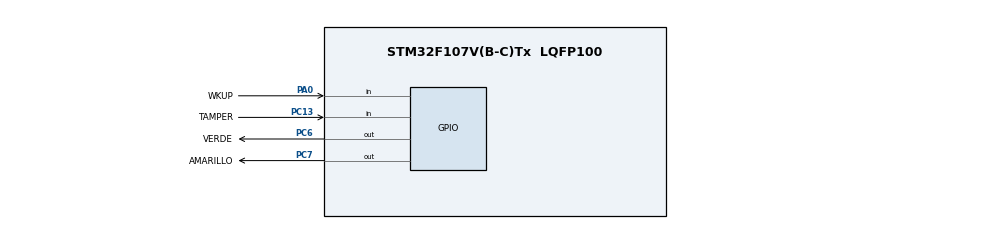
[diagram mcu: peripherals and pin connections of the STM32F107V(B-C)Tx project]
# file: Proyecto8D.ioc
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FREERTOS.CountingSemaphores01=semaverde,5,Dynamic,NULL;semarillo,5,Dynamic,NULL
FREERTOS.Queues01=num_pulsa,3,uint16_t,0,Dynamic,NULL,NULL
FREERTOS.Tasks01=defaultTask,24,128,StartDefaultTask,Default,NULL,Dynamic,NULL,NULL;ledVerde,24,128,Start_led_verde,Default,NULL,Dynamic,NULL,NULL;ledAmarillo,24,128,Start_led_amarillo,Default,NULL,Dynamic,NULL,NULL;control_leds,16,128,Start_control_leds,Default,NULL,Dynamic,NULL,NULL;respuesta,40,128,StartTask05,Default,NULL,Dynamic,NULL,NULL
Mcu.Family=STM32F1
Mcu.Name=STM32F107V(B-C)Tx
Mcu.Package=LQFP100
NVIC.PriorityGroup=NVIC_PRIORITYGROUP_4
NVIC.TIM1_UP_IRQn=true\:15\:0\:false\:false\:true\:false\:false\:true\:true
NVIC.TimeBase=TIM1_UP_IRQn
NVIC.TimeBaseIP=TIM1
PA0-WKUP.GPIO_Label=WKUP
PA0-WKUP.Signal=GPIO_Input
PC13-TAMPER-RTC.GPIO_Label=TAMPER
PC13-TAMPER-RTC.Signal=GPIO_Input
PC6.GPIO_Label=VERDE
PC6.Signal=GPIO_Output
PC7.GPIO_Label=AMARILLO
PC7.Signal=GPIO_Output
ProjectManager.HeapSize=0x200
ProjectManager.StackSize=0x400
ProjectManager.TargetToolchain=STM32CubeIDE
RCC.USBFreq_Value=10666666.666666666
VP_FREERTOS_VS_CMSIS_V2.Mode=CMSIS_V2
VP_SYS_VS_ND.Mode=No_Debug
VP_SYS_VS_tim1.Mode=TIM1
board=custom

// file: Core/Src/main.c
/* USER CODE BEGIN Header */
/**
 ******************************************************************************
 * @file           : main.c
 * @brief          : Main program body
 ******************************************************************************
 * @attention
 *
 * Copyright (c) 2024 STMicroelectronics.
 * All rights reserved.
 *
 * This software is licensed under terms that can be found in the LICENSE file
 * in the root directory of this software component.
 * If no LICENSE file comes with this software, it is provided AS-IS.
 *
 ******************************************************************************
 */
/* USER CODE END Header */
#include "main.h"
#include "cmsis_os.h"

/* Definitions for defaultTask */
osThreadId_t defaultTaskHandle;
const osThreadAttr_t defaultTask_attributes = { .name = "defaultTask",
		.stack_size = 128 * 4, .priority = (osPriority_t) osPriorityNormal, };
/* Definitions for ledVerde */
osThreadId_t ledVerdeHandle;
const osThreadAttr_t ledVerde_attributes = { .name = "ledVerde", .stack_size =
		128 * 4, .priority = (osPriority_t) osPriorityNormal, };
/* Definitions for ledAmarillo */
osThreadId_t ledAmarilloHandle;
const osThreadAttr_t ledAmarillo_attributes = { .name = "ledAmarillo",
		.stack_size = 128 * 4, .priority = (osPriority_t) osPriorityNormal, };
/* Definitions for control_leds */
osThreadId_t control_ledsHandle;
const osThreadAttr_t control_leds_attributes =
		{ .name = "control_leds", .stack_size = 128 * 4, .priority =
				(osPriority_t) osPriorityBelowNormal, };
/* Definitions for respuesta */
osThreadId_t respuestaHandle;
const osThreadAttr_t respuesta_attributes = { .name = "respuesta", .stack_size =
		128 * 4, .priority = (osPriority_t) osPriorityHigh, };
/* Definitions for num_pulsa */
osMessageQueueId_t num_pulsaHandle;
const osMessageQueueAttr_t num_pulsa_attributes = { .name = "num_pulsa" };
/* Definitions for semaverde */
osSemaphoreId_t semaverdeHandle;
const osSemaphoreAttr_t semaverde_attributes = { .name = "semaverde" };
/* Definitions for semarillo */
osSemaphoreId_t semarilloHandle;
const osSemaphoreAttr_t semarillo_attributes = { .name = "semarillo" };

void SystemClock_Config(void);
static void MX_GPIO_Init(void);
void StartDefaultTask(void *argument);
void Start_led_verde(void *argument);
void Start_led_amarillo(void *argument);
void Start_control_leds(void *argument);
void StartTask05(void *argument);

int main(void) {

	/* MCU Configuration--------------------------------------------------------*/

	/* Reset of all peripherals, Initializes the Flash interface and the Systick. */
	HAL_Init();

	/* Configure the system clock */
	SystemClock_Config();

	/* Initialize all configured peripherals */
	MX_GPIO_Init();

	/* Init scheduler */
	osKernelInitialize();

	/* Create the semaphores(s) */
	/* creation of semaverde */
	semaverdeHandle = osSemaphoreNew(5, 0, &semaverde_attributes);

	/* creation of semarillo */
	semarilloHandle = osSemaphoreNew(5, 0, &semarillo_attributes);

	/* Create the queue(s) */
	/* creation of num_pulsa */
	num_pulsaHandle = osMessageQueueNew(3, sizeof(uint16_t),
			&num_pulsa_attributes);

	/* Create the thread(s) */
	/* creation of defaultTask */
	defaultTaskHandle = osThreadNew(StartDefaultTask, NULL,
			&defaultTask_attributes);

	/* creation of ledVerde */
	ledVerdeHandle = osThreadNew(Start_led_verde, NULL, &ledVerde_attributes);

	/* creation of ledAmarillo */
	ledAmarilloHandle = osThreadNew(Start_led_amarillo, NULL,
			&ledAmarillo_attributes);

	/* creation of control_leds */
	control_ledsHandle = osThreadNew(Start_control_leds, NULL,
			&control_leds_attributes);

	/* creation of respuesta */
	respuestaHandle = osThreadNew(StartTask05, NULL, &respuesta_attributes);

	/* Start scheduler */
	osKernelStart();

	/* We should never get here as control is now taken by the scheduler */
	/* Infinite loop */
	while (1) {

	}
}

void SystemClock_Config(void) {
	RCC_OscInitTypeDef RCC_OscInitStruct = { 0 };
	RCC_ClkInitTypeDef RCC_ClkInitStruct = { 0 };

	/** Initializes the RCC Oscillators according to the specified parameters
	 * in the RCC_OscInitTypeDef structure.
	 */
	RCC_OscInitStruct.OscillatorType = RCC_OSCILLATORTYPE_HSI;
	RCC_OscInitStruct.HSIState = RCC_HSI_ON;
	RCC_OscInitStruct.HSICalibrationValue = RCC_HSICALIBRATION_DEFAULT;
	RCC_OscInitStruct.PLL.PLLState = RCC_PLL_NONE;
	RCC_OscInitStruct.PLL2.PLL2State = RCC_PLL_NONE;
	if (HAL_RCC_OscConfig(&RCC_OscInitStruct) != HAL_OK) {
		Error_Handler();
	}

	/** Initializes the CPU, AHB and APB buses clocks
	 */
	RCC_ClkInitStruct.ClockType = RCC_CLOCKTYPE_HCLK | RCC_CLOCKTYPE_SYSCLK
			| RCC_CLOCKTYPE_PCLK1 | RCC_CLOCKTYPE_PCLK2;
	RCC_ClkInitStruct.SYSCLKSource = RCC_SYSCLKSOURCE_HSI;
	RCC_ClkInitStruct.AHBCLKDivider = RCC_SYSCLK_DIV1;
	RCC_ClkInitStruct.APB1CLKDivider = RCC_HCLK_DIV1;
	RCC_ClkInitStruct.APB2CLKDivider = RCC_HCLK_DIV1;

	if (HAL_RCC_ClockConfig(&RCC_ClkInitStruct, FLASH_LATENCY_0) != HAL_OK) {
		Error_Handler();
	}

	/** Configure the Systick interrupt time
	 */
	__HAL_RCC_PLLI2S_ENABLE();
}

static void MX_GPIO_Init(void) {
	GPIO_InitTypeDef GPIO_InitStruct = { 0 };

	/* GPIO Ports Clock Enable */
	__HAL_RCC_GPIOC_CLK_ENABLE();
	__HAL_RCC_GPIOA_CLK_ENABLE();

	/*Configure GPIO pin Output Level */
	HAL_GPIO_WritePin(GPIOC, VERDE_Pin | AMARILLO_Pin, GPIO_PIN_RESET);

	/*Configure GPIO pin : TAMPER_Pin */
	GPIO_InitStruct.Pin = TAMPER_Pin;
	GPIO_InitStruct.Mode = GPIO_MODE_INPUT;
	GPIO_InitStruct.Pull = GPIO_NOPULL;
	HAL_GPIO_Init(TAMPER_GPIO_Port, &GPIO_InitStruct);

	/*Configure GPIO pin : WKUP_Pin */
	GPIO_InitStruct.Pin = WKUP_Pin;
	GPIO_InitStruct.Mode = GPIO_MODE_INPUT;
	GPIO_InitStruct.Pull = GPIO_NOPULL;
	HAL_GPIO_Init(WKUP_GPIO_Port, &GPIO_InitStruct);

	/*Configure GPIO pins : VERDE_Pin AMARILLO_Pin */
	GPIO_InitStruct.Pin = VERDE_Pin | AMARILLO_Pin;
	GPIO_InitStruct.Mode = GPIO_MODE_OUTPUT_PP;
	GPIO_InitStruct.Pull = GPIO_NOPULL;
	GPIO_InitStruct.Speed = GPIO_SPEED_FREQ_LOW;
	HAL_GPIO_Init(GPIOC, &GPIO_InitStruct);

}

void StartDefaultTask(void *argument) {
	for (;;) {
		osDelay(1);
	}
}

void Start_led_verde(void *argument) {
	/* USER CODE BEGIN Start_led_verde */
	/* Infinite loop */
	for (;;) {
		osSemaphoreAcquire(semaverdeHandle, 0xFFFFFFF);
		HAL_GPIO_WritePin(VERDE_GPIO_Port, VERDE_Pin, GPIO_PIN_SET);
		osDelay(300);
		HAL_GPIO_WritePin(VERDE_GPIO_Port, VERDE_Pin, GPIO_PIN_RESET);
		osDelay(300);
	}
	/* USER CODE END Start_led_verde */
}

void Start_led_amarillo(void *argument) {
	/* USER CODE BEGIN Start_led_amarillo */
	/* Infinite loop */
	for (;;) {
		osSemaphoreAcquire(semarilloHandle, 0xFFFFFFF);
		HAL_GPIO_WritePin(AMARILLO_GPIO_Port, AMARILLO_Pin, GPIO_PIN_SET);
		osDelay(200);
		HAL_GPIO_WritePin(AMARILLO_GPIO_Port, AMARILLO_Pin, GPIO_PIN_RESET);
		osDelay(200);
	}
	/* USER CODE END Start_led_amarillo */
}

void Start_control_leds(void *argument) {
	/* USER CODE BEGIN Start_control_leds */
	/* Infinite loop */

	unsigned short respuesta;
	uint8_t n1;
	uint8_t n2;
	//mientras no se plse el tamper, esperamos de forma activa
	while (HAL_GPIO_ReadPin(TAMPER_GPIO_Port, TAMPER_Pin) == 0) {
		osDelay(101);
	}
	osMessageQueueReset(num_pulsaHandle);
	for (;;) {
		if (HAL_GPIO_ReadPin(TAMPER_GPIO_Port, TAMPER_Pin) == 1) {
			//GENERAMOS elcodigó de forma pseudo aleatoria
			n1 = osKernelGetTickCount() % 5;
			n2 = (osKernelGetTickCount() + 42) % 5;
			n1++;
			n2++;
			//ASIGNAMOS LAS interrupciones
			for (int i = 0; i < n1; i++) {
				//LED 1
				osSemaphoreRelease(semaverdeHandle);
			}
			for (int j = 0; j < n2; j++) {
				osSemaphoreRelease(semarilloHandle);
			}
			//mientras la cola esta vacía esperamos
			while (osMessageQueueGetCount(num_pulsaHandle) == 0) {
				osDelay(10);
			}
			osMessageQueueGet(num_pulsaHandle, &respuesta, 0, 0xFFFFFF);
			if (respuesta == (n1 + n2)) {
				//acertaste
				HAL_GPIO_WritePin(VERDE_GPIO_Port, VERDE_Pin, GPIO_PIN_SET);
				osDelay(2000);
				HAL_GPIO_WritePin(VERDE_GPIO_Port, VERDE_Pin, 0);
			} else {
				//la cagaste
				HAL_GPIO_WritePin(AMARILLO_GPIO_Port, AMARILLO_Pin,
						GPIO_PIN_SET);
				osDelay(2000);
				HAL_GPIO_WritePin(AMARILLO_GPIO_Port, AMARILLO_Pin, 0);
			}
			while(HAL_GPIO_ReadPin(TAMPER_GPIO_Port, TAMPER_Pin) == 1){
				//hasta que no se despulse no salimos
				// es para que no comience de forma automática el juego
				//una vez termine
				osDelay(10);
			}
			osDelay(10);
		}
	}

	/* USER CODE END Start_control_leds */
}

void StartTask05(void *argument) {
	/* USER CODE BEGIN StartTask05 */
	/* Infinite loop */
	unsigned short conta2;
	for (;;) {
		if (HAL_GPIO_ReadPin(GPIOA, WKUP_Pin) == 1) {
			conta2++;
			while (HAL_GPIO_ReadPin(GPIOA, WKUP_Pin) == 1) {
				//hasta que no se libere no salimos
				osDelay(10);
			}
		}
		// metemos en la cola
		if (HAL_GPIO_ReadPin(GPIOC, TAMPER_Pin) == 0 && conta2 != 0) {
			osMessageQueuePut(num_pulsaHandle, &conta2, 0, 0);
			conta2 = 0;
		}

		osDelay(10);
	}
	/* USER CODE END StartTask05 */
}

void HAL_TIM_PeriodElapsedCallback(TIM_HandleTypeDef *htim) {
	if (htim->Instance == TIM1) {
		HAL_IncTick();
	}
}

void Error_Handler(void) {
	__disable_irq();
	while (1) {
	}
}
